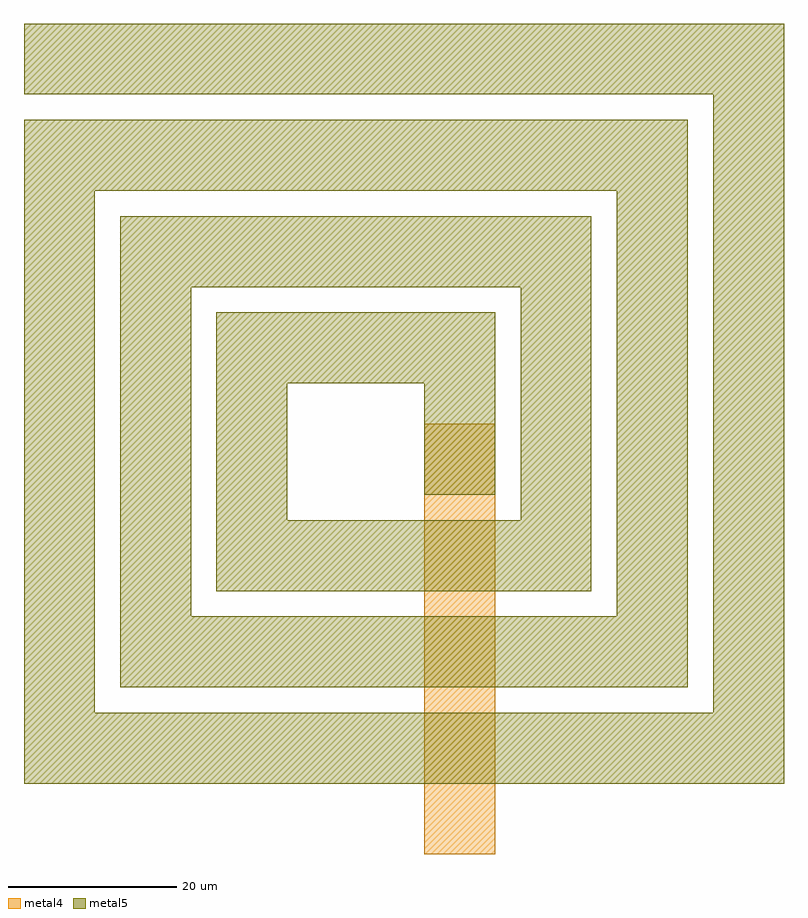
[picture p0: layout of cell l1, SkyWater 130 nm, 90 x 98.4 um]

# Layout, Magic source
magic
tech sky130A
<< metal4 >>
rect 25840 20260 26680 25359
<< metal5 >>
rect 21100 29260 30100 30100
rect 21100 28120 28960 28960
rect 21100 21939 21939 28120
rect 22239 26980 27820 27820
rect 22239 23079 23079 26980
rect 23379 25840 26680 26680
rect 23379 24219 24219 25840
rect 25840 24519 26680 25840
rect 26980 24219 27820 26980
rect 23379 23379 27820 24219
rect 28120 23079 28960 28120
rect 22239 22239 28960 23079
rect 29260 21939 30100 29260
rect 21100 21100 30100 21939
<< end >>
